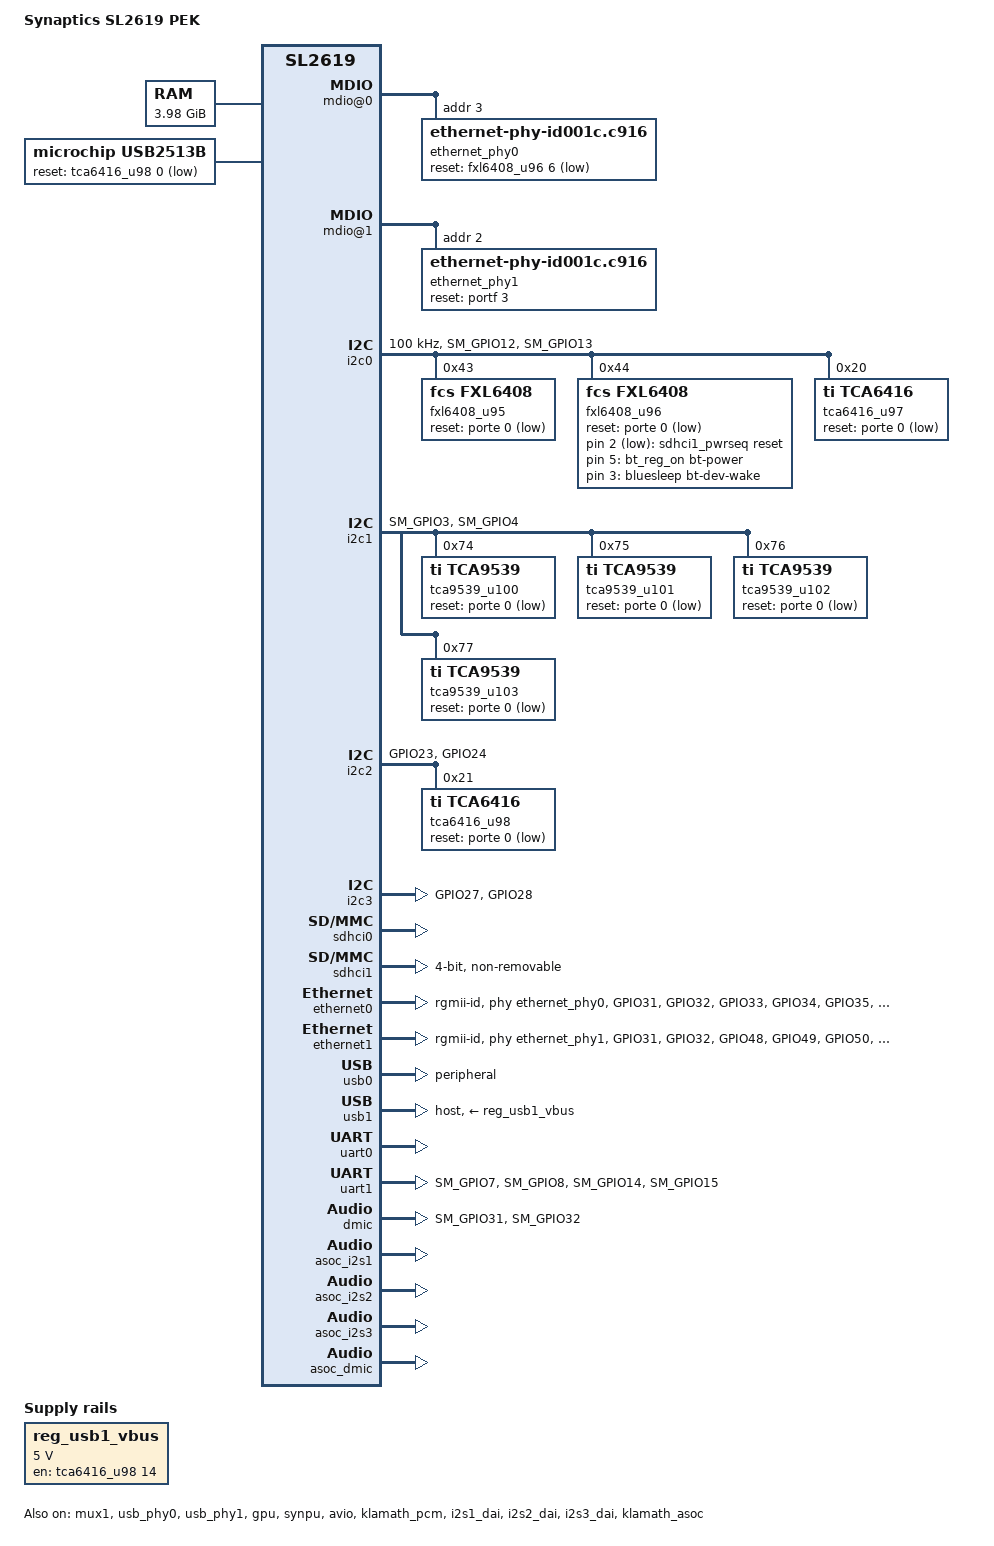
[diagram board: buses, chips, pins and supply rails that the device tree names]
// SPDX-License-Identifier: (GPL-2.0 OR MIT)
/*
 * Copyright (C) 2025 Synaptics Incorporated
 *
 * Author: Jisheng Zhang <jszhang@kernel.org>
 */


/dts-v1/;

#include <dt-bindings/gpio/gpio.h>

#include "sl2619.dtsi"

&cpu0 {
	/delete-property/ operating-points-v2;
};

&cpu1 {
	/delete-property/ operating-points-v2;
};

/ {
	model = "Synaptics SL2619 PEK";
	compatible = "syna,sl2619-pek", "syna,sl2619";

	aliases {
		ethernet0 = &ethernet0;
		ethernet1 = &ethernet1;
	};

	chosen {
		stdout-path = "serial0:115200n8";
	};

	memory {
		device_type = "memory";
		reg = <0x0 0x01000000 0x0 0xdf000000>,
		      <0x1 0xe0000000 0x0 0x20000000>;
	};

	reserved-memory {
		#address-cells = <2>;
		#size-cells = <2>;
		ranges;

		vdev0vring0: vdev0vring0@7f00000 {
			compatible = "shared-dma-pool";
			reg = <0 0x7f00000 0 0x8000>;
			no-map;
		};

		vdev0vring1: vdev0vring1@7f08000 {
			compatible = "shared-dma-pool";
			reg = <0 0x7f08000 0 0x8000>;
			no-map;
		};

		vdevbuffer: vdevbuffer {
			compatible = "shared-dma-pool";
			reg = <0 0x7f10000 0 0xf0000>;
			no-map;
		};
	};

	rpmsg {
		compatible = "syna,rpmsg";
		mbox-names = "rpmsg";
		mboxes = <&ipc 0>;
		syna,vdev-nums = <1>;
		reg = <0x0 0x7f00000 0x0 0x10000>;
		memory-region = <&vdevbuffer>;
	};

	sdhci1_pwrseq: sdhci1-pwrseq {
		compatible = "mmc-pwrseq-simple";
		reset-gpios = <&fxl6408_u96 2 GPIO_ACTIVE_LOW>;
		post-power-on-delay-ms = <50>;
	};

	regulators {
		compatible = "simple-bus";
		#address-cells = <1>;
		#size-cells = <0>;

		reg_usb1_vbus: usb1_vbus {
			compatible = "regulator-fixed";
			regulator-name = "usb0_vbus";
			regulator-min-microvolt = <5000000>;
			regulator-max-microvolt = <5000000>;
			gpio = <&tca6416_u98 14 GPIO_ACTIVE_HIGH>;
			enable-active-high;
		};
	};

	usb2513b {
		compatible = "microchip,usb2513b";
		reset-gpios = <&tca6416_u98 0 GPIO_ACTIVE_LOW>;
	};

	mdio-demux {
		compatible = "mdio-demux";
		mux-controls = <&mux1 0>;
		mdio-parent-bus = <&mdio0>, <&mdio1>;
		#address-cells = <1>;
		#size-cells = <0>;

		mdio@0 {
			reg = <0x0>;
			#address-cells = <1>;
			#size-cells = <0>;

			ethernet_phy0: ethernet-phy@3 {
				compatible = "ethernet-phy-id001c.c916";
				reg = <3>;
				realtek,clkout-disable;
				realtek,rxc-ssc-enable;
				realtek,sysclk-ssc-enable;
				reset-assert-us = <20000>;
				reset-deassert-us = <100000>;
				reset-gpios = <&fxl6408_u96 6 GPIO_ACTIVE_LOW>;
			};
		};

		mdio@1 {
			reg = <0x1>;
			#address-cells = <1>;
			#size-cells = <0>;

			ethernet_phy1: ethernet-phy@2 {
				compatible = "ethernet-phy-id001c.c916";
				reg = <2>;
				pinctrl-0 = <&eth1_phy_rst_pmux>;
				pinctrl-names = "default";
				realtek,clkout-disable;
				realtek,rxc-ssc-enable;
				realtek,sysclk-ssc-enable;
				reset-assert-us = <20000>;
				reset-deassert-us = <100000>;
				reset-gpios = <&portf 3 GPIO_ACTIVE_HIGH>;
			};
		};
	};

	bt_reg_on: bt_reg_on {
		compatible = "syna,rfkill";
		bt-power-gpio = <&fxl6408_u96 5 GPIO_ACTIVE_HIGH>;
	};

	bluesleep: bluesleep {
		compatible = "syna,bluesleep";
		bt-dev-wake-gpio = <&fxl6408_u96 3 GPIO_ACTIVE_HIGH>;
	};

	dmabuf_heap {
		compatible = "syna,berlin-heaps";
		pool-num = <1>;
		reg-names = "NonSecure-NC";
		reg = <0 0x3ec00000 0  0x400000>;
		attributes-num-per-pool = <2>;
		pool-attributes = <0x00000105 0x00000F3A>;
	};
};

&pinctrl {
	eth_mdio_pmux: eth-mdio-pmux {
		groups = "GPIO31", "GPIO32";
		function = "rgmii";
		drive-strength = <7>;
	};

	eth0_pmux: eth0-pmux {
		groups = "GPIO33", "GPIO34", "GPIO35", "GPIO36", "GPIO37", "GPIO38", "GPIO39", "GPIO40", "GPIO41", "GPIO42", "GPIO43", "GPIO44";
		function = "rgmii1";
		drive-strength = <7>;
	};

	eth1_pmux: eth1-pmux {
		groups = "GPIO48", "GPIO49", "GPIO50", "GPIO51", "GPIO52", "GPIO53", "GPIO54", "GPIO55", "GPIO56", "GPIO57", "GPIO58", "GPIO59";
		function = "rgmii2";
		drive-strength = <7>;
	};

	i2c2_pmux: i2c2-pmux {
		groups = "GPIO23", "GPIO24";
		function = "tw2";
		drive-strength = <8>;
	};

	i2c3_pmux: i2c3-pmux {
		groups = "GPIO27", "GPIO28";
		function = "tw3";
		drive-strength = <8>;
	};

	i2s1_pmux: i2s1-pmux {
		groups = "GPIO0", "GPIO1", "GPIO2", "GPIO3", "GPIO4";
		function = "i2s1";
	};

	i2s2_pmux: i2s2-pmux {
		groups = "GPIO5", "GPIO6", "GPIO7", "GPIO8", "GPIO11";
		function = "i2s2";
	};

	i2s3_pmux: i2s3-pmux {
		groups = "GPIO12", "GPIO13", "GPIO14", "GPIO15";
		function = "i2s3";
	};
};

&sm_pinctrl {
	eth1_phy_rst_pmux: eth1_phy_rst-pmux {
		groups = "SM_GPIO35";
		function = "gpio";
	};

	i2c0_pmux: i2c0-pmux {
		groups = "SM_GPIO12", "SM_GPIO13";
		function = "tw0";
		drive-strength = <8>;
	};

	i2c1_pmux: i2c1-pmux {
		groups = "SM_GPIO3", "SM_GPIO4";
		function = "tw1";
		drive-strength = <8>;
	};

	tca6416_u98_pmux: tca6416_u98-pmux {
		groups = "SM_GPIO24";
		function = "gpio";
	};

	uart1_pmux: uart1-pmux {
		groups = "SM_GPIO7", "SM_GPIO8", "SM_GPIO14", "SM_GPIO15";
		function = "uart1";
		drive-strength = <7>;
	};

	pdm_pmux: pdm-pmux {
		groups = "SM_GPIO31", "SM_GPIO32";
		function = "pdm";
	};
};

&mux1 {
	status = "okay";
};

&i2c0 {
	status = "okay";
	pinctrl-names = "default";
	pinctrl-0 = <&i2c0_pmux>;
	clock-frequency = <100000>;

	fxl6408_u95: gpio@43 {
		compatible = "fcs,fxl6408";
		reg = <0x43>;
		reset-gpios = <&porte 0 GPIO_ACTIVE_LOW>;
		gpio-controller;
		#gpio-cells = <2>;
	};

	fxl6408_u96: gpio@44 {
		compatible = "fcs,fxl6408";
		reg = <0x44>;
		reset-gpios = <&porte 0 GPIO_ACTIVE_LOW>;
		gpio-controller;
		#gpio-cells = <2>;
	};

	tca6416_u97: gpio@20 {
		compatible = "ti,tca6416";
		reg = <0x20>;
		reset-gpios = <&porte 0 GPIO_ACTIVE_LOW>;
		gpio-controller;
		#gpio-cells = <2>;
	};
};

&i2c1 {
	status = "okay";
	pinctrl-names = "default";
	pinctrl-0 = <&i2c1_pmux>;

	tca9539_u100: gpio@74 {
		compatible = "ti,tca9539";
		reg = <0x74>;
		reset-gpios = <&porte 0 GPIO_ACTIVE_LOW>;
		gpio-controller;
		#gpio-cells = <2>;
	};

	tca9539_u101: gpio@75 {
		compatible = "ti,tca9539";
		reg = <0x75>;
		reset-gpios = <&porte 0 GPIO_ACTIVE_LOW>;
		gpio-controller;
		#gpio-cells = <2>;
	};

	tca9539_u102: gpio@76 {
		compatible = "ti,tca9539";
		reg = <0x76>;
		reset-gpios = <&porte 0 GPIO_ACTIVE_LOW>;
		gpio-controller;
		#gpio-cells = <2>;
	};

	tca9539_u103: gpio@77 {
		compatible = "ti,tca9539";
		reg = <0x77>;
		reset-gpios = <&porte 0 GPIO_ACTIVE_LOW>;
		gpio-controller;
		#gpio-cells = <2>;
	};
};

&i2c2 {
	status = "okay";
	pinctrl-names = "default";
	pinctrl-0 = <&i2c2_pmux>;

	tca6416_u98: gpio@21 {
		compatible = "ti,tca6416";
		pinctrl-names = "default";
		pinctrl-0 = <&tca6416_u98_pmux>;
		reg = <0x21>;
		reset-gpios = <&porte 0 GPIO_ACTIVE_LOW>;
		gpio-controller;
		#gpio-cells = <2>;
	};
};

&i2c3 {
	status = "okay";
	pinctrl-names = "default";
	pinctrl-0 = <&i2c3_pmux>;
};

&ipc {
	status = "okay";
};

&pdma0 {
	status = "okay";
};

&sdhci0 {
	status = "okay";
	sdclkdl-dc = /bits/ 8 <20>;
	pad-sp = /bits/ 8 <10>;
	pad-sn = /bits/ 8 <10>;
	mmc-ddr-1_8v;
	mmc-hs200-1_8v;
	mmc-hs400-1_8v;
	mmc-hs400-enhanced-strobe;
};

&sdhci1 {
	status = "okay";
	bus-width = <4>;
	sdclkdl-dc = /bits/ 8 <50>;
	pad-sp = /bits/ 8 <12>;
	pad-sn = /bits/ 8 <12>;
	no-sd;
	no-mmc;
	non-removable;
	mmc-pwrseq = <&sdhci1_pwrseq>;
	mode1-tune;
	keep-power-in-suspend;
};

&ethernet0 {
	status = "okay";
	pinctrl-0 = <&eth_mdio_pmux>, <&eth0_pmux>;
	pinctrl-names = "default";
	phy-handle = <&ethernet_phy0>;
	phy-mode = "rgmii-id";

	mdio0: mdio {
		compatible = "snps,dwmac-mdio";
		#address-cells = <1>;
		#size-cells = <0>;
	};
};

&ethernet1 {
	status = "okay";
	pinctrl-0 = <&eth_mdio_pmux>, <&eth1_pmux>;
	pinctrl-names = "default";
	phy-handle = <&ethernet_phy1>;
	phy-mode = "rgmii-id";

	mdio1: mdio {
		compatible = "snps,dwmac-mdio";
		#address-cells = <1>;
		#size-cells = <0>;
	};
};

&usb0 {
	status = "okay";
	dr_mode = "peripheral";
};

&usb_phy0{
	status = "okay";
};

&usb1 {
	status = "okay";
	vbus-supply = <&reg_usb1_vbus>;
	dr_mode = "host";
};

&usb_phy1{
	status = "okay";
};

&uart0 {
	status = "okay";
};

&gpu {
	status = "okay";
};

&smmu {
	status = "okay";
};

&synpu {
	status = "okay";
};

&uart1 {
	pinctrl-0 = <&uart1_pmux>;
	pinctrl-names = "default";
	status = "okay";
};

&avio {
	status = "okay";
};

&klamath_pcm {
	status = "okay";
};

&i2s1_dai {
	status = "okay";
	pinctrl-0 = <&i2s1_pmux>;
	pinctrl-names = "default";
	clk_src = "APLL";
	clk_feed = "I2S1_DI";
	output-mclk;
};

&i2s2_dai {
	status = "okay";
	pinctrl-0 = <&i2s2_pmux>;
	pinctrl-names = "default";
	clk_src = "APLL";
	clk_feed = "I2S3_DI";
};

&i2s3_dai {
	status = "okay";
	pinctrl-0 = <&i2s3_pmux>;
	pinctrl-names = "default";
	clk_src = "APLL";
	clk_feed = "I2S3_DI";
};

&dmic {
	status = "okay";
	pinctrl-0 = <&pdm_pmux>;
	pinctrl-names = "default";
	pdm-type = <1>;
	pdm-clk-sel = <1>;
};

&klamath_asoc {
	status = "okay";

	asoc_i2s1: asoc-i2s1 {
		status = "okay";
		stream-name = "asoc-i2s1";
		link-name = "asoc-i2s1";
		format = "i2s";
		bitclock-master;
		frame-master;
		cpu-node = <&i2s1_dai>;
		codec-name = "snd-soc-dummy";
		codec-dai-name = "snd-soc-dummy-dai";
		platform-node = <&klamath_pcm>;
	};

	asoc_i2s2: asoc-i2s2 {
		status = "okay";
		stream-name = "asoc-i2s2";
		link-name = "asoc-i2s2";
		format = "i2s";
		bitclock-master;
		frame-master;
		cpu-node = <&i2s2_dai>;
		codec-name = "snd-soc-dummy";
		codec-dai-name = "snd-soc-dummy-dai";
		platform-node = <&klamath_pcm>;
	};

	asoc_i2s3: asoc-i2s3 {
		status = "okay";
		stream-name = "asoc-i2s3";
		link-name = "asoc-i2s3";
		format = "i2s";
		bitclock-master;
		frame-master;
		cpu-node = <&i2s3_dai>;
		codec-name = "snd-soc-dummy";
		codec-dai-name = "snd-soc-dummy-dai";
		platform-node = <&klamath_pcm>;
	};

	asoc_dmic: asoc-dmic {
		status = "okay";
		stream-name = "dummy-dmic";
		link-name = "dummy-dmic";
		cpu-node = <&dmic>;
		codec-name = "snd-soc-dummy";
		codec-dai-name = "snd-soc-dummy-dai";
		platform-node = <&klamath_pcm>;
	};
};
